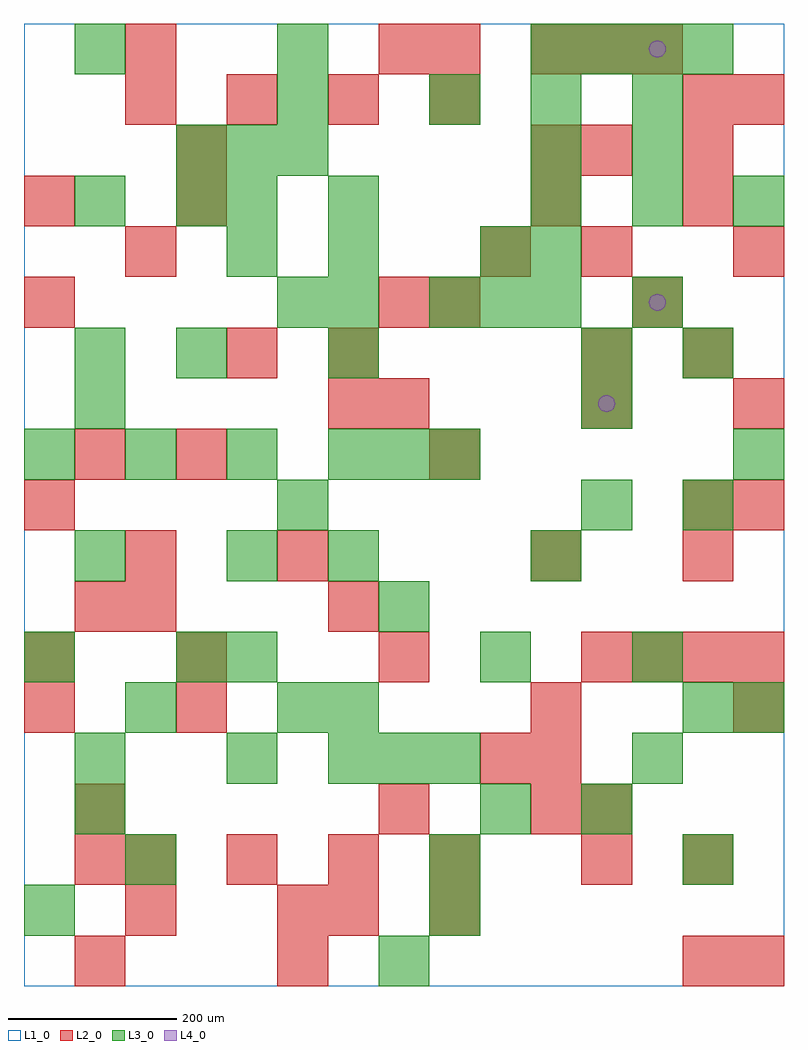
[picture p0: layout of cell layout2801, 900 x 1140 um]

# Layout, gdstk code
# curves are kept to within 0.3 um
import gdstk
lib = gdstk.Library(unit=1e-6, precision=1e-09)
def R(c, l, rs):  # rectangles x0, y0, x1, y1
    for r in rs: c.add(gdstk.rectangle(r[:2], r[2:], *l))
def A(c, l, x, y, w, h, nx, ny, dx, dy):  # array of equal rectangles
    R(c, l, [(x+i*dx, y+j*dy, x+i*dx+w, y+j*dy+h) for i in range(nx) for j in range(ny)])
def P(c, l, *ps):  # polygons
    for p in ps: c.add(gdstk.Polygon(p, *l))
L1_0 = (1, 0)
L2_0 = (2, 0)
L3_0 = (3, 0)
L4_0 = (4, 0)

layout2801 = lib.new_cell('layout2801')
R(layout2801, L1_0, [(0,0,900,1140)])
A(layout2801, L2_0, 120, 120, 60, 60, 4, 2, 120, 900)
A(layout2801, L2_0, 600, 180, 60, 60, 1, 3, 0, 60)
A(layout2801, L2_0, 180, 300, 60, 60, 1, 3, 0, 300)
A(layout2801, L2_0, 180, 360, 60, 60, 3, 1, 240, 0)
A(layout2801, L2_0, 720, 360, 60, 60, 3, 1, 60, 0)
A(layout2801, L2_0, 780, 540, 60, 60, 1, 3, 0, 180)
A(layout2801, L2_0, 840, 660, 60, 60, 1, 3, 0, 180)
A(layout2801, L2_0, 660, 720, 60, 60, 1, 3, 0, 120)
A(layout2801, L2_0, 600, 1080, 60, 60, 3, 1, 60, 0)
R(layout2801, L2_0, [(60,0,120,60), (300,0,360,60), (780,0,840,60), (840,0,900,60), (120,60,180,120), (300,60,360,120), (360,60,420,120), (480,60,540,120), (60,120,120,180), (660,120,720,180), (780,120,840,180), (60,180,120,240), (420,180,480,240), (660,180,720,240), (540,240,600,300), (0,300,60,360), (840,300,900,360), (0,360,60,420), (60,420,120,480), (120,420,180,480), (360,420,420,480), (120,480,180,540), (300,480,360,540), (600,480,660,540), (780,480,840,540), (0,540,60,600), (840,540,900,600), (60,600,120,660), (480,600,540,660), (360,660,420,720), (420,660,480,720), (660,660,720,720), (240,720,300,780), (360,720,420,780), (0,780,60,840), (420,780,480,840), (480,780,540,840), (720,780,780,840), (120,840,180,900), (540,840,600,900), (0,900,60,960), (600,900,660,960), (180,960,240,1020), (600,960,660,1020), (780,960,840,1020), (780,1020,840,1080), (120,1080,180,1140), (420,1080,480,1140), (480,1080,540,1140)])
A(layout2801, L3_0, 240, 240, 60, 60, 1, 3, 0, 120)
A(layout2801, L3_0, 360, 240, 60, 60, 3, 1, 60, 0)
A(layout2801, L3_0, 300, 300, 60, 60, 1, 4, 0, 240)
A(layout2801, L3_0, 0, 600, 60, 60, 4, 1, 120, 0)
A(layout2801, L3_0, 60, 720, 60, 60, 1, 3, 0, 180)
A(layout2801, L3_0, 360, 720, 60, 60, 1, 4, 0, 60)
A(layout2801, L3_0, 480, 780, 60, 60, 3, 1, 60, 0)
A(layout2801, L3_0, 600, 900, 60, 60, 3, 1, 120, 0)
A(layout2801, L3_0, 180, 960, 60, 60, 3, 1, 60, 0)
A(layout2801, L3_0, 480, 1020, 60, 60, 3, 1, 120, 0)
A(layout2801, L3_0, 600, 1080, 60, 60, 4, 1, 60, 0)
R(layout2801, L3_0, [(420,0,480,60), (0,60,60,120), (480,60,540,120), (120,120,180,180), (480,120,540,180), (780,120,840,180), (60,180,120,240), (540,180,600,240), (660,180,720,240), (60,240,120,300), (720,240,780,300), (120,300,180,360), (360,300,420,360), (780,300,840,360), (840,300,900,360), (0,360,60,420), (180,360,240,420), (540,360,600,420), (720,360,780,420), (420,420,480,480), (60,480,120,540), (360,480,420,540), (600,480,660,540), (660,540,720,600), (780,540,840,600), (420,600,480,660), (480,600,540,660), (840,600,900,660), (60,660,120,720), (660,660,720,720), (180,720,240,780), (660,720,720,780), (780,720,840,780), (720,780,780,840), (240,840,300,900), (540,840,600,900), (600,840,660,900), (180,900,240,960), (240,900,300,960), (600,960,660,1020), (720,960,780,1020), (300,1080,360,1140)])
P(layout2801, L4_0, [(700,690),(699.239,693.827),(697.071,697.071),(693.827,699.239),(690,700),(686.173,699.239),(682.929,697.071),(680.761,693.827),(680,690),(680.761,686.173),(682.929,682.929),(686.173,680.761),(690,680),(693.827,680.761),(697.071,682.929),(699.239,686.173)],
  [(760,810),(759.239,813.827),(757.071,817.071),(753.827,819.239),(750,820),(746.173,819.239),(742.929,817.071),(740.761,813.827),(740,810),(740.761,806.173),(742.929,802.929),(746.173,800.761),(750,800),(753.827,800.761),(757.071,802.929),(759.239,806.173)],
  [(760,1110),(759.239,1113.827),(757.071,1117.071),(753.827,1119.239),(750,1120),(746.173,1119.239),(742.929,1117.071),(740.761,1113.827),(740,1110),(740.761,1106.173),(742.929,1102.929),(746.173,1100.761),(750,1100),(753.827,1100.761),(757.071,1102.929),(759.239,1106.173)])

lib.write_gds('layout2801.gds')
